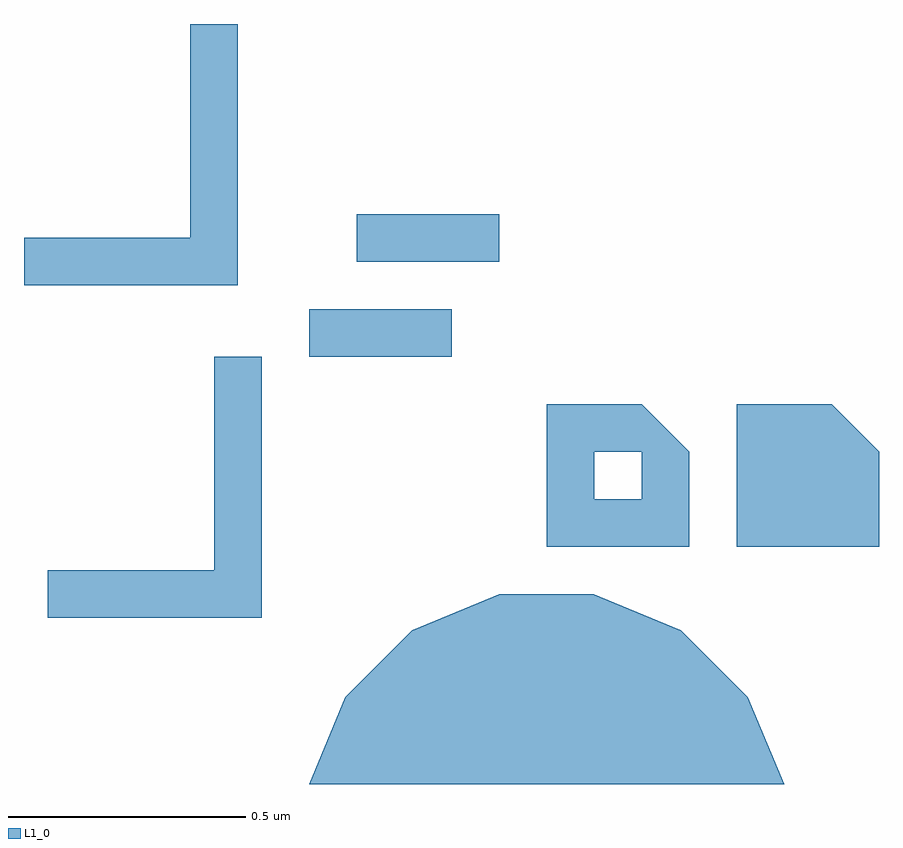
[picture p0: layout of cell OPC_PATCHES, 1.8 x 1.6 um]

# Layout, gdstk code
import gdstk
lib = gdstk.Library(unit=1e-6, precision=1e-09)
def R(c, l, rs):  # rectangles x0, y0, x1, y1
    for r in rs: c.add(gdstk.rectangle(r[:2], r[2:], *l))
def P(c, l, *ps):  # polygons
    for p in ps: c.add(gdstk.Polygon(p, *l))
L1_0 = (1, 0)

opc_patches = lib.new_cell('OPC_PATCHES')
R(opc_patches, L1_0, [(-1.4,0.4,-1.1,0.5), (-1.3,0.6,-1,0.7)])
P(opc_patches, L1_0, [(-0.5,0),(-0.5,0.3),(-0.3,0.3),(-0.2,0.2),(-0.2,0)],
  [(-0.9,0),(-0.9,0.2),(-0.8,0.2),(-0.8,0.1),(-0.7,0.1),(-0.7,0.2),(-0.9,0.2),(-0.9,0.3),(-0.7,0.3),(-0.6,0.2),(-0.6,0)],
  [(-2,0.55),(-2,0.65),(-1.65,0.65),(-1.65,1.1),(-1.55,1.1),(-1.55,0.55)],
  [(-1.95,-0.15),(-1.95,-0.05),(-1.6,-0.05),(-1.6,0.4),(-1.5,0.4),(-1.5,-0.15)],
  [(-1.4,-0.5),(-1.324,-0.317),(-1.183,-0.176),(-0.999,-0.1),(-0.801,-0.1),(-0.617,-0.176),(-0.476,-0.317),(-0.4,-0.5)])

lib.write_gds('OPC_PATCHES.gds')
